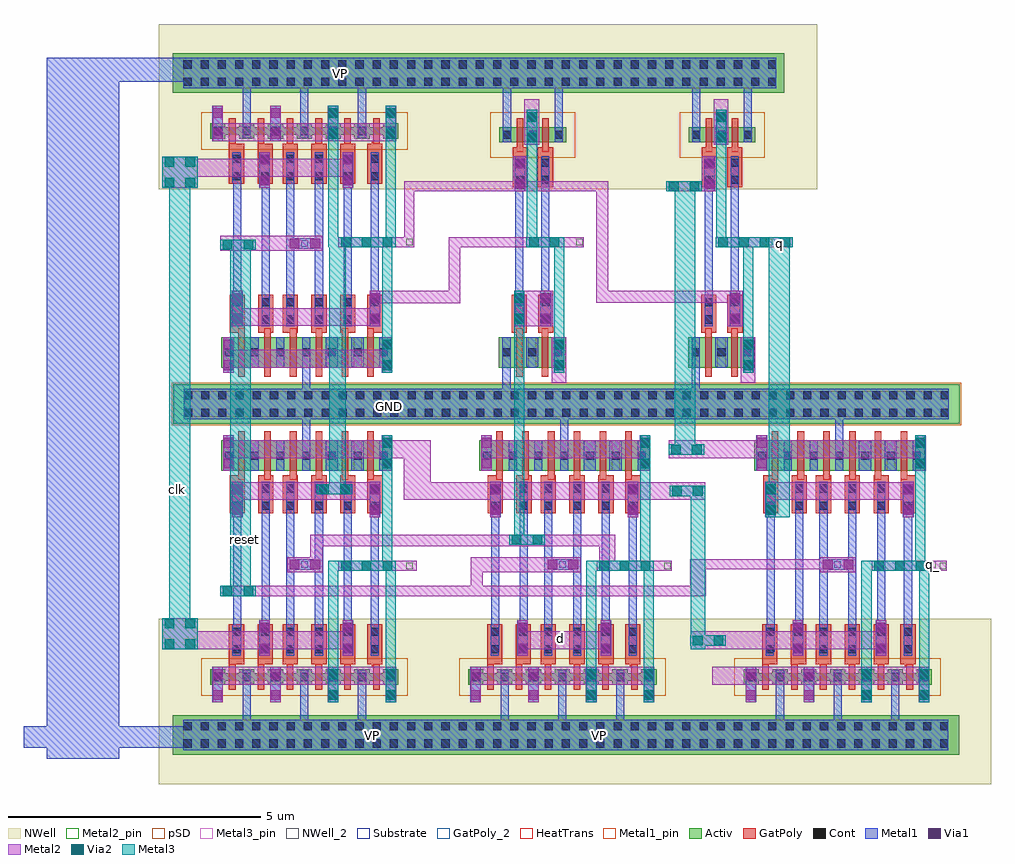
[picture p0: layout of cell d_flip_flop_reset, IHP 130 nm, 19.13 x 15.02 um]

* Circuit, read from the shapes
.subckt d_flip_flop_reset GND VP clk d q q_ reset
XM1 n1 NAND_2in_nmosx2_25/a NAND_3in_nmosx3_21/a GND sg13_lv_nmos w=0.6u l=0.13u
XM2 n2 NAND_3in_nmosx3_22/a NAND_2in_nmosx2_25/a GND sg13_lv_nmos w=0.6u l=0.13u
XM3 n3 clk n1 GND sg13_lv_nmos w=0.6u l=0.13u
XM4 n4 clk n2 GND sg13_lv_nmos w=0.6u l=0.13u
XM5 GND NAND_2in_nmosx2_24/a n3 GND sg13_lv_nmos w=0.6u l=0.13u
XM6 GND reset n4 GND sg13_lv_nmos w=0.6u l=0.13u
XM7 n5 NAND_2in_nmosx2_24/a GND GND sg13_lv_nmos w=0.6u l=0.13u
XM8 n6 reset GND GND sg13_lv_nmos w=0.6u l=0.13u
XM9 n7 clk n5 GND sg13_lv_nmos w=0.6u l=0.13u
XM10 n8 clk n6 GND sg13_lv_nmos w=0.6u l=0.13u
XM11 NAND_3in_nmosx3_21/a NAND_2in_nmosx2_25/a n7 GND sg13_lv_nmos w=0.6u l=0.13u
XM12 NAND_2in_nmosx2_25/a NAND_3in_nmosx3_22/a n8 GND sg13_lv_nmos w=0.6u l=0.13u
XM13 n9 NAND_3in_nmosx3_21/a NAND_2in_nmosx2_24/a GND sg13_lv_nmos w=0.6u l=0.13u
XM14 n10 NAND_2in_nmosx2_25/a GND GND sg13_lv_nmos w=0.6u l=0.13u
XM15 n11 d n9 GND sg13_lv_nmos w=0.6u l=0.13u
XM16 NAND_3in_nmosx3_22/a NAND_2in_nmosx2_24/a n10 GND sg13_lv_nmos w=0.6u l=0.13u
XM17 GND reset n11 GND sg13_lv_nmos w=0.6u l=0.13u
XM18 n12 reset GND GND sg13_lv_nmos w=0.6u l=0.13u
XM19 n13 d n12 GND sg13_lv_nmos w=0.6u l=0.13u
XM20 NAND_2in_nmosx2_24/a NAND_3in_nmosx3_21/a n13 GND sg13_lv_nmos w=0.6u l=0.13u
XM21 n14 q_ GND GND sg13_lv_nmos w=0.6u l=0.13u
XM22 q NAND_2in_nmosx2_25/a n14 GND sg13_lv_nmos w=0.6u l=0.13u
XM23 n15 q q_ GND sg13_lv_nmos w=0.6u l=0.13u
XM24 n16 NAND_3in_nmosx3_21/a n15 GND sg13_lv_nmos w=0.6u l=0.13u
XM25 GND reset n16 GND sg13_lv_nmos w=0.6u l=0.13u
XM26 n17 reset GND GND sg13_lv_nmos w=0.6u l=0.13u
XM27 n18 NAND_3in_nmosx3_21/a n17 GND sg13_lv_nmos w=0.6u l=0.13u
XM28 q_ q n18 GND sg13_lv_nmos w=0.6u l=0.13u
XM29 VP NAND_2in_nmosx2_25/a NAND_3in_nmosx3_21/a VP sg13_lv_pmos w=0.15u l=0.13u m=2
XM30 VP NAND_3in_nmosx3_22/a NAND_2in_nmosx2_25/a VP sg13_lv_pmos w=0.15u l=0.13u m=2
XM31 NAND_3in_nmosx3_21/a clk VP VP sg13_lv_pmos w=0.15u l=0.13u m=2
XM32 NAND_2in_nmosx2_25/a clk VP VP sg13_lv_pmos w=0.15u l=0.13u m=2
XM33 VP NAND_2in_nmosx2_24/a NAND_3in_nmosx3_21/a VP sg13_lv_pmos w=0.15u l=0.13u m=2
XM34 VP reset NAND_2in_nmosx2_25/a VP sg13_lv_pmos w=0.15u l=0.13u m=2
XM35 VP NAND_3in_nmosx3_21/a NAND_2in_nmosx2_24/a VP sg13_lv_pmos w=0.15u l=0.13u m=2
XM36 NAND_2in_nmosx2_24/a d VP VP sg13_lv_pmos w=0.15u l=0.13u m=2
XM37 NAND_3in_nmosx3_22/a NAND_2in_nmosx2_25/a VP VP sg13_lv_pmos w=0.3u l=0.13u
XM38 VP NAND_2in_nmosx2_24/a NAND_3in_nmosx3_22/a VP sg13_lv_pmos w=0.3u l=0.13u
XM39 VP reset NAND_2in_nmosx2_24/a VP sg13_lv_pmos w=0.15u l=0.13u m=2
XM40 q q_ VP VP sg13_lv_pmos w=0.3u l=0.13u
XM41 VP NAND_2in_nmosx2_25/a q VP sg13_lv_pmos w=0.3u l=0.13u
XM42 VP q q_ VP sg13_lv_pmos w=0.15u l=0.13u m=2
XM43 q_ NAND_3in_nmosx3_21/a VP VP sg13_lv_pmos w=0.15u l=0.13u m=2
XM44 VP reset q_ VP sg13_lv_pmos w=0.15u l=0.13u m=2
.ends

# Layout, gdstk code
from math import pi, radians
import gdstk
lib = gdstk.Library(unit=1e-6, precision=1e-09)
def R(c, l, rs):  # rectangles x0, y0, x1, y1
    for r in rs: c.add(gdstk.rectangle(r[:2], r[2:], *l))
def A(c, l, x, y, w, h, nx, ny, dx, dy):  # array of equal rectangles
    R(c, l, [(x+i*dx, y+j*dy, x+i*dx+w, y+j*dy+h) for i in range(nx) for j in range(ny)])
Activ = (1, 0)
GatPoly = (5, 0)
GatPoly_2 = (5, 2)
Cont = (6, 0)
Metal1 = (8, 0)
Metal1_pin = (8, 2)
Metal2 = (10, 0)
Metal2_pin = (10, 2)
pSD = (14, 0)
Via1 = (19, 0)
Via2 = (29, 0)
Metal3 = (30, 0)
Metal3_pin = (30, 2)
NWell = (31, 0)
NWell_2 = (31, 2)
Substrate = (40, 0)
HeatTrans = (51, 0)

ptap1 = lib.new_cell('ptap1')
R(ptap1, Activ, [(0,0,1.7,0.78)])
A(ptap1, Cont, 0.09, 0.14, 0.16, 0.16, 5, 2, 0.34, 0.34)
R(ptap1, Metal1, [(0.09,0.09,1.61,0.69), (0.09,0.14,1.61,0.64)])
R(ptap1, Metal1_pin, [(0.09,0.14,1.61,0.64)])
R(ptap1, pSD, [(-0.03,-0.03,1.73,0.81)])
R(ptap1, Substrate, [(0,0,1.7,0.78)])
ptap1.add(gdstk.Label('sub!', (0.85,0.01), layer=63, texttype=0))
ptap1.add(gdstk.Label('sub!', (0.85,0.01), layer=40, texttype=0))

ntap1_2 = lib.new_cell('ntap1$2')
R(ntap1_2, Activ, [(0,0,1.7,0.78)])
A(ntap1_2, Cont, 0.09, 0.14, 0.16, 0.16, 5, 2, 0.34, 0.34)
R(ntap1_2, Metal1, [(0.09,0.09,1.61,0.69)])
R(ntap1_2, Metal1_pin, [(0.09,0.09,1.61,0.69), (0.09,0.14,1.61,0.64)])
R(ntap1_2, NWell, [(-0.24,-0.24,1.94,1.02), (0,0,1.7,0.78)])
R(ntap1_2, NWell_2, [(0,0,1.7,0.78)])
ntap1_2.add(gdstk.Label('well', (0.85,0.01), layer=63, texttype=0))
ntap1_2.add(gdstk.Label('well', (0.85,0.01), layer=31, texttype=0))

ntap1 = lib.new_cell('ntap1')
R(ntap1, Activ, [(0,0,2.4,0.78)])
A(ntap1, Cont, 0.1, 0.14, 0.16, 0.16, 7, 2, 0.34, 0.34)
R(ntap1, Metal1, [(0.1,0.09,2.3,0.69)])
R(ntap1, Metal1_pin, [(0.1,0.09,2.3,0.69), (0.1,0.14,2.3,0.64)])
R(ntap1, NWell, [(-0.24,-0.24,2.64,1.02), (0,0,2.4,0.78)])
R(ntap1, NWell_2, [(0,0,2.4,0.78)])
ntap1.add(gdstk.Label('well', (1.2,0.01), layer=63, texttype=0))
ntap1.add(gdstk.Label('well', (1.2,0.01), layer=31, texttype=0))

ntap1_4 = lib.new_cell('ntap1$4')
R(ntap1_4, Activ, [(0,0,2.2,0.78)])
A(ntap1_4, Cont, 0.17, 0.14, 0.16, 0.16, 6, 2, 0.34, 0.34)
R(ntap1_4, Metal1, [(0.17,0.09,2.03,0.69)])
R(ntap1_4, Metal1_pin, [(0.17,0.09,2.03,0.69), (0.17,0.14,2.03,0.64)])
R(ntap1_4, NWell, [(-0.24,-0.24,2.44,1.02), (0,0,2.2,0.78)])
R(ntap1_4, NWell_2, [(0,0,2.2,0.78)])
ntap1_4.add(gdstk.Label('well', (1.1,0.01), layer=63, texttype=0))
ntap1_4.add(gdstk.Label('well', (1.1,0.01), layer=31, texttype=0))

via = lib.new_cell('Via')
R(via, Metal2, [(-0.35,-0.1,0.35,0.1)])
R(via, Via2, [(-0.3,-0.095,-0.11,0.095), (0.11,-0.095,0.3,0.095)])
R(via, Metal3, [(-0.35,-0.1,0.35,0.1)])

via_1 = lib.new_cell('Via$1')
R(via_1, Metal2, [(-0.35,-0.305,0.35,0.305)])
R(via_1, Via2, [(-0.3,-0.3,-0.11,-0.11), (0.11,-0.3,0.3,-0.11), (-0.3,0.11,-0.11,0.3), (0.11,0.11,0.3,0.3)])
R(via_1, Metal3, [(-0.35,-0.305,0.35,0.305)])

via_2 = lib.new_cell('Via$2')
R(via_2, Metal1, [(-0.105,-0.35,0.105,0.35)])
R(via_2, Metal2, [(-0.1,-0.35,0.1,0.35)])
R(via_2, Via1, [(-0.095,-0.3,0.095,-0.11), (-0.095,0.11,0.095,0.3)])

via_1_2 = lib.new_cell('Via$1$2')
R(via_1_2, Metal2, [(-0.1,-0.555,0.1,0.555)])
A(via_1_2, Via2, -0.095, -0.505, 0.19, 0.19, 1, 3, 0, 0.41)
R(via_1_2, Metal3, [(-0.1,-0.555,0.1,0.555)])

nmos = lib.new_cell('nmos')
A(nmos, Activ, 0, 0, 0.3, 0.3, 7, 1, 0.51, 0)
R(nmos, Activ, [(0,0,3.36,0.6)])
A(nmos, GatPoly, 0.34, -0.18, 0.13, 0.96, 6, 1, 0.51, 0)
R(nmos, GatPoly_2, [(0.34,-0.18,0.47,0.78)])
A(nmos, Cont, 0.07, 0.22, 0.16, 0.16, 7, 1, 0.51, 0)
A(nmos, Metal1, 0.07, 0, 0.16, 0.6, 7, 1, 0.51, 0)
R(nmos, Metal1_pin, [(0.07,0,0.23,0.6), (0.58,0,0.74,0.6)])
A(nmos, HeatTrans, 0.34, -0.18, 0.13, 0.96, 6, 1, 0.51, 0)
nmos.add(gdstk.Label('nmos', (0.405,0.3), layer=63, texttype=0))
nmos.add(gdstk.Label('nmos', (0.405,0.3), layer=51, texttype=0))
nmos.add(gdstk.Label('nmos', (0.915,0.3), layer=51, texttype=0))
nmos.add(gdstk.Label('nmos', (1.425,0.3), layer=51, texttype=0))
nmos.add(gdstk.Label('nmos', (1.935,0.3), layer=51, texttype=0))
nmos.add(gdstk.Label('nmos', (2.445,0.3), layer=51, texttype=0))
nmos.add(gdstk.Label('nmos', (2.955,0.3), layer=51, texttype=0))

ntap1_7 = lib.new_cell('ntap1$7')
R(ntap1_7, Activ, [(0,0,5,0.78)])
A(ntap1_7, Cont, 0.21, 0.14, 0.16, 0.16, 14, 2, 0.34, 0.34)
R(ntap1_7, Metal1, [(0.21,0.09,4.79,0.69)])
R(ntap1_7, Metal1_pin, [(0.21,0.09,4.79,0.69), (0.21,0.14,4.79,0.64)])
R(ntap1_7, NWell, [(-0.24,-0.24,5.24,1.02), (0,0,5,0.78)])
R(ntap1_7, NWell_2, [(0,0,5,0.78)])
ntap1_7.add(gdstk.Label('well', (2.5,0.01), layer=63, texttype=0))
ntap1_7.add(gdstk.Label('well', (2.5,0.01), layer=31, texttype=0))

ptap1_3 = lib.new_cell('ptap1$3')
R(ptap1_3, Activ, [(0,0,5,0.78)])
A(ptap1_3, Cont, 0.21, 0.14, 0.16, 0.16, 14, 2, 0.34, 0.34)
R(ptap1_3, Metal1, [(0.21,0.09,4.79,0.69), (0.21,0.14,4.79,0.64)])
R(ptap1_3, Metal1_pin, [(0.21,0.14,4.79,0.64)])
R(ptap1_3, pSD, [(-0.03,-0.03,5.03,0.81)])
R(ptap1_3, Substrate, [(0,0,5,0.78)])
ptap1_3.add(gdstk.Label('sub!', (2.5,0.01), layer=63, texttype=0))
ptap1_3.add(gdstk.Label('sub!', (2.5,0.01), layer=40, texttype=0))

via_2_2 = lib.new_cell('Via$2$2')
R(via_2_2, Metal2, [(-0.1,-0.35,0.1,0.35)])
R(via_2_2, Via2, [(-0.095,-0.3,0.095,-0.11), (-0.095,0.11,0.095,0.3)])
R(via_2_2, Metal3, [(-0.1,-0.35,0.1,0.35)])

via_3 = lib.new_cell('Via$3')
R(via_3, GatPoly, [(-0.32,-0.15,0.32,0.15)])
R(via_3, Cont, [(-0.25,-0.08,-0.09,0.08), (0.09,-0.08,0.25,0.08)])
R(via_3, Metal1, [(-0.3,-0.08,0.3,0.08)])

pmos = lib.new_cell('pmos')
A(pmos, Activ, 0, 0, 0.3, 0.3, 7, 1, 0.57, 0)
R(pmos, Activ, [(0,0.075,3.72,0.225)])
A(pmos, GatPoly, 0.37, -0.105, 0.13, 0.51, 6, 1, 0.57, 0)
R(pmos, GatPoly, [(0.37,-0.105,0.5,0.405)])
A(pmos, Cont, 0.07, 0.07, 0.16, 0.16, 7, 1, 0.57, 0)
A(pmos, Metal1, 0.64, 0.02, 0.16, 0.26, 6, 1, 0.57, 0)
R(pmos, Metal1, [(0.07,0.02,0.23,0.28), (0.07,0.02,0.23,0.28), (0.64,0.02,0.8,0.28)])
R(pmos, pSD, [(-0.18,-0.225,3.9,0.525)])
R(pmos, NWell, [(-0.31,-0.31,4.03,0.61)])
A(pmos, HeatTrans, 0.37, -0.105, 0.13, 0.51, 6, 1, 0.57, 0)
pmos.add(gdstk.Label('pmos', (0.435,0.15), layer=63, texttype=0))
pmos.add(gdstk.Label('pmos', (0.435,0.15), layer=51, texttype=0))
pmos.add(gdstk.Label('pmos', (1.005,0.15), layer=51, texttype=0))
pmos.add(gdstk.Label('pmos', (1.575,0.15), layer=51, texttype=0))
pmos.add(gdstk.Label('pmos', (2.145,0.15), layer=51, texttype=0))
pmos.add(gdstk.Label('pmos', (2.715,0.15), layer=51, texttype=0))
pmos.add(gdstk.Label('pmos', (3.285,0.15), layer=51, texttype=0))

nand_3in_nmosx3 = lib.new_cell('NAND_3in_nmosx3')
A(nand_3in_nmosx3, GatPoly, -0.54, -2.93, 0.3, 0.11, 3, 1, 0.57, 0)
A(nand_3in_nmosx3, GatPoly, -0.54, 0.655, 0.3, 0.15, 3, 1, 0.57, 0)
R(nand_3in_nmosx3, GatPoly, [(-1.585,-2.93,-1.285,-2.82), (-1.02,-2.93,-0.72,-2.82), (1.135,-2.93,1.435,-2.82), (-1.6,0.655,-1.3,0.805), (-1.035,0.655,-0.735,0.805), (1.13,0.655,1.43,0.805), (0.68,0.755,0.81,0.845), (1.22,0.755,1.35,0.845)])
R(nand_3in_nmosx3, Metal1, [(-0.155,-4.075,0.005,-3.295), (0.31,-3.6,0.55,-3.34), (0.82,-3.6,1.06,-3.34), (0.31,-3.36,0.55,-3.02), (0.82,-3.36,1.06,-3.02), (-1.515,-2.44,-1.355,0.56), (-0.95,-2.44,-0.79,0.05), (0.67,-2.44,0.83,0.05), (-0.47,-2.38,-0.31,0.175), (0.1,-2.38,0.26,0.245), (1.2,-2.21,1.36,-1.27), (1.2,-1.31,1.36,-0.37), (1.2,-0.455,1.36,0.075), (0.95,1.005,1.11,2.015), (-1.33,1.07,-1.17,2.065), (-0.19,1.075,-0.03,2.065)])
R(nand_3in_nmosx3, Metal1_pin, [(0.44,-4.33,0.57,-4.2), (0.74,2.225,0.87,2.355)])
R(nand_3in_nmosx3, Metal2, [(-1.685,-3.62,1.605,-3.27), (-1.475,-2.795,1.395,-2.445), (-0.45,-1.315,0.25,-1.015), (1.62,-1.24,2.05,-1.04), (-0.895,0.155,0.83,0.505), (-1.925,0.855,1.7,1.205)])
R(nand_3in_nmosx3, Metal2_pin, [(-1.495,-2.31,-1.365,-2.18), (1.225,-2.31,1.355,-2.18), (-0.175,-1.235,-0.045,-1.105), (1.905,-1.205,2.035,-1.075), (-0.955,0.005,-0.825,0.135), (-0.955,0.005,-0.825,0.135), (0.69,0.005,0.82,0.135), (0.69,0.005,0.82,0.135)])
R(nand_3in_nmosx3, Metal3, [(1.425,-3.03,1.625,-2.83), (1.425,-2.83,1.625,-2.425), (1.425,-2.5,1.625,-1.15), (0.36,-1.24,0.56,-0.97), (0.38,-1.24,0.565,-1.04), (1.66,-1.24,1.7,-1.09), (1.5,-1.09,1.7,0.17), (0.36,-0.97,0.56,0.26), (1.5,0.045,1.7,1.02), (0.36,0.155,0.56,0.855)])
R(nand_3in_nmosx3, NWell, [(-2.99,-0.1,2.93,3.17)])
nand_3in_nmosx3.add(gdstk.Reference(via_2, (1.285,-2.45), rotation=pi))
nand_3in_nmosx3.add(gdstk.Reference(via_2, (0.75,0.285), rotation=pi))
nand_3in_nmosx3.add(gdstk.Reference(via_2, (0.46,1.205), rotation=pi))
nand_3in_nmosx3.add(gdstk.Reference(via_2, (1.6,1.205), rotation=pi))
nand_3in_nmosx3.add(gdstk.Reference(via_1_2, (1.12,-1.14), rotation=3*pi/2))
nand_3in_nmosx3.add(gdstk.Reference(nmos, (1.605,-3.02), rotation=pi))
nand_3in_nmosx3.add(gdstk.Reference(ntap1_7, (-2.71,1.81)))
nand_3in_nmosx3.add(gdstk.Reference(ptap1_3, (-2.7,-4.73)))
nand_3in_nmosx3.add(gdstk.Reference(via_2_2, (1.525,-3.37), rotation=pi))
nand_3in_nmosx3.add(gdstk.Reference(via_2_2, (0.46,1.205), rotation=pi))
nand_3in_nmosx3.add(gdstk.Reference(via_2_2, (1.6,1.205), rotation=pi))
nand_3in_nmosx3.add(gdstk.Reference(via_3, (0.75,-2.5), rotation=3*pi/2))
nand_3in_nmosx3.add(gdstk.Reference(via_3, (1.285,-2.5), rotation=3*pi/2))
nand_3in_nmosx3.add(gdstk.Reference(via_3, (0.75,0.335), rotation=3*pi/2))
nand_3in_nmosx3.add(gdstk.Reference(via_3, (1.28,0.335), rotation=3*pi/2))
nand_3in_nmosx3.add(gdstk.Reference(pmos, (1.75,1.205), rotation=pi))
nand_3in_nmosx3.add(gdstk.Reference(via_3, (0.18,0.335), rotation=3*pi/2))
nand_3in_nmosx3.add(gdstk.Reference(via_3, (0.18,-2.5), rotation=3*pi/2))
nand_3in_nmosx3.add(gdstk.Reference(via_3, (-0.39,0.335), rotation=3*pi/2))
nand_3in_nmosx3.add(gdstk.Reference(via_3, (-0.39,-2.5), rotation=3*pi/2))
nand_3in_nmosx3.add(gdstk.Reference(via_2, (-0.1,-1.165), rotation=3*pi/2))
nand_3in_nmosx3.add(gdstk.Reference(via_2, (-0.68,1.205), rotation=pi))
nand_3in_nmosx3.add(gdstk.Reference(via_2, (-1.825,1.205), rotation=pi))
nand_3in_nmosx3.add(gdstk.Reference(via_2, (0.75,0.285), rotation=pi))
nand_3in_nmosx3.add(gdstk.Reference(via_3, (0.75,0.335), rotation=3*pi/2))
nand_3in_nmosx3.add(gdstk.Reference(via_3, (-0.885,0.335), rotation=3*pi/2))
nand_3in_nmosx3.add(gdstk.Reference(via_2, (-0.895,0.285), rotation=pi))
nand_3in_nmosx3.add(gdstk.Reference(via_3, (-0.885,0.335), rotation=3*pi/2))
nand_3in_nmosx3.add(gdstk.Reference(via_2, (-0.895,0.285), rotation=pi))
nand_3in_nmosx3.add(gdstk.Reference(via_3, (-0.87,-2.5), rotation=3*pi/2))
nand_3in_nmosx3.add(gdstk.Reference(via_2, (-1.435,-2.45), rotation=pi))
nand_3in_nmosx3.add(gdstk.Reference(via_3, (-1.435,-2.5), rotation=3*pi/2))
nand_3in_nmosx3.add(gdstk.Reference(via_3, (-1.45,0.335), rotation=3*pi/2))
nand_3in_nmosx3.add(gdstk.Reference(via_2, (-1.61,-3.37), rotation=pi))
nand_3in_nmosx3.add(gdstk.Reference(via_2, (1.525,-3.37), rotation=pi))
nand_3in_nmosx3.add(gdstk.Label('GND', (0.505,-4.26), layer=8, texttype=25))
nand_3in_nmosx3.add(gdstk.Label('VP', (0.8,2.285), layer=8, texttype=25))
nand_3in_nmosx3.add(gdstk.Label('a', (-1.435,-2.25), layer=10, texttype=25))
nand_3in_nmosx3.add(gdstk.Label('a', (1.285,-2.25), layer=10, texttype=25))
nand_3in_nmosx3.add(gdstk.Label('b', (0.76,0.095), layer=10, texttype=25))
nand_3in_nmosx3.add(gdstk.Label('b', (-0.885,0.095), layer=10, texttype=25))
nand_3in_nmosx3.add(gdstk.Label('b', (-0.885,0.095), layer=10, texttype=25))
nand_3in_nmosx3.add(gdstk.Label('b', (0.76,0.095), layer=10, texttype=25))
nand_3in_nmosx3.add(gdstk.Label('c', (-0.11,-1.175), layer=10, texttype=25))
nand_3in_nmosx3.add(gdstk.Label('y', (1.97,-1.14), layer=10, texttype=25))

ntap1_5 = lib.new_cell('ntap1$5')
R(ntap1_5, Activ, [(0,0,2.5,0.78)])
A(ntap1_5, Cont, 0.15, 0.14, 0.16, 0.16, 7, 2, 0.34, 0.34)
R(ntap1_5, Metal1, [(0.15,0.09,2.35,0.69)])
R(ntap1_5, Metal1_pin, [(0.15,0.09,2.35,0.69), (0.15,0.14,2.35,0.64)])
R(ntap1_5, NWell, [(-0.24,-0.24,2.74,1.02), (0,0,2.5,0.78)])
R(ntap1_5, NWell_2, [(0,0,2.5,0.78)])
ntap1_5.add(gdstk.Label('well', (1.25,0.01), layer=63, texttype=0))
ntap1_5.add(gdstk.Label('well', (1.25,0.01), layer=31, texttype=0))

ptap1_1 = lib.new_cell('ptap1$1')
R(ptap1_1, Activ, [(0,0,2.5,0.78)])
A(ptap1_1, Cont, 0.15, 0.14, 0.16, 0.16, 7, 2, 0.34, 0.34)
R(ptap1_1, Metal1, [(0.15,0.09,2.35,0.69), (0.15,0.14,2.35,0.64)])
R(ptap1_1, Metal1_pin, [(0.15,0.14,2.35,0.64)])
R(ptap1_1, pSD, [(-0.03,-0.03,2.53,0.81)])
R(ptap1_1, Substrate, [(0,0,2.5,0.78)])
ptap1_1.add(gdstk.Label('sub!', (1.25,0.01), layer=63, texttype=0))
ptap1_1.add(gdstk.Label('sub!', (1.25,0.01), layer=40, texttype=0))

via_4 = lib.new_cell('Via$4')
R(via_4, Metal2, [(-0.1,-0.35,0.1,0.35)])
R(via_4, Via2, [(-0.095,-0.3,0.095,-0.11), (-0.095,0.11,0.095,0.3)])
R(via_4, Metal3, [(-0.1,-0.35,0.1,0.35)])

via_1_3 = lib.new_cell('Via$1$3')
R(via_1_3, Metal1, [(-0.105,-0.35,0.105,0.35)])
R(via_1_3, Metal2, [(-0.1,-0.35,0.1,0.35)])
R(via_1_3, Via1, [(-0.095,-0.3,0.095,-0.11), (-0.095,0.11,0.095,0.3)])

via_2_3 = lib.new_cell('Via$2$3')
R(via_2_3, GatPoly, [(-0.32,-0.15,0.32,0.15)])
R(via_2_3, Cont, [(-0.25,-0.08,-0.09,0.08), (0.09,-0.08,0.25,0.08)])
R(via_2_3, Metal1, [(-0.3,-0.08,0.3,0.08)])

pmos_1 = lib.new_cell('pmos$1')
A(pmos_1, Activ, 0, 0, 0.3, 0.3, 3, 1, 0.51, 0)
R(pmos_1, Activ, [(0,0,1.32,0.3)])
R(pmos_1, GatPoly, [(0.34,-0.18,0.47,0.48), (0.34,-0.18,0.47,0.48), (0.85,-0.18,0.98,0.48)])
A(pmos_1, Cont, 0.07, 0.07, 0.16, 0.16, 3, 1, 0.51, 0)
R(pmos_1, Metal1, [(0.07,0,0.23,0.3), (0.07,0,0.23,0.3), (0.58,0,0.74,0.3), (0.58,0,0.74,0.3), (1.09,0,1.25,0.3)])
R(pmos_1, pSD, [(-0.18,-0.3,1.5,0.6)])
R(pmos_1, NWell, [(-0.31,-0.31,1.63,0.61)])
R(pmos_1, HeatTrans, [(0.34,-0.18,0.47,0.48), (0.85,-0.18,0.98,0.48)])
pmos_1.add(gdstk.Label('pmos', (0.405,0.15), layer=63, texttype=0))
pmos_1.add(gdstk.Label('pmos', (0.405,0.15), layer=51, texttype=0))
pmos_1.add(gdstk.Label('pmos', (0.915,0.15), layer=51, texttype=0))

nmos_1 = lib.new_cell('nmos$1')
A(nmos_1, Activ, 0, 0, 0.3, 0.3, 3, 1, 0.51, 0)
R(nmos_1, Activ, [(0,0,1.32,0.6)])
R(nmos_1, GatPoly, [(0.34,-0.18,0.47,0.78), (0.85,-0.18,0.98,0.78)])
R(nmos_1, GatPoly_2, [(0.34,-0.18,0.47,0.78)])
A(nmos_1, Cont, 0.07, 0.22, 0.16, 0.16, 3, 1, 0.51, 0)
A(nmos_1, Metal1, 0.07, 0, 0.16, 0.6, 3, 1, 0.51, 0)
R(nmos_1, Metal1_pin, [(0.07,0,0.23,0.6), (0.58,0,0.74,0.6)])
R(nmos_1, HeatTrans, [(0.34,-0.18,0.47,0.78), (0.85,-0.18,0.98,0.78)])
nmos_1.add(gdstk.Label('nmos', (0.405,0.3), layer=63, texttype=0))
nmos_1.add(gdstk.Label('nmos', (0.405,0.3), layer=51, texttype=0))
nmos_1.add(gdstk.Label('nmos', (0.915,0.3), layer=51, texttype=0))

nand_2in_nmosx2 = lib.new_cell('NAND_2in_nmosx2')
R(nand_2in_nmosx2, GatPoly, [(0.63,-2.93,0.93,-2.82), (1.15,-2.93,1.45,-2.82), (0.645,0.58,0.945,0.73), (1.145,0.58,1.445,0.73), (0.725,0.68,0.855,0.77)])
R(nand_2in_nmosx2, Metal1, [(0.445,-4.32,0.605,-3.295), (0.915,-3.6,1.155,-3.34), (0.915,-3.36,1.155,-3.02), (0.7,-2.68,0.86,0.26), (1.215,-2.21,1.375,-1.27), (1.215,-1.31,1.375,-0.37), (1.215,-0.37,1.375,-0.01), (0.455,1.01,0.615,1.15), (0.455,1.115,0.615,1.99), (1.475,1.115,1.635,1.94)])
R(nand_2in_nmosx2, Metal1_pin, [(0.44,-4.32,0.57,-4.19), (0.4,2.15,0.53,2.28)])
R(nand_2in_nmosx2, Metal2, [(1.415,-3.92,1.705,-3.72), (1.415,-3.72,1.705,-3.02), (1.15,-2.8,1.45,-2.1), (1.62,-1.24,2.05,-1.04), (0.645,-0.14,0.945,0.56), (0.88,0.78,1.17,0.98), (0.88,0.98,1.17,1.68)])
R(nand_2in_nmosx2, Metal2_pin, [(1.24,-2.27,1.37,-2.14), (1.905,-1.205,2.035,-1.075), (0.735,-0.1,0.865,0.03)])
R(nand_2in_nmosx2, Metal3, [(1.465,-3.03,1.665,-2.83), (1.465,-2.905,1.665,-1.045), (0.93,-1.09,1.13,0.17), (0.93,0.1,1.13,0.62), (0.93,0.62,1.13,0.72), (0.93,0.71,1.13,0.87)])
R(nand_2in_nmosx2, NWell, [(-0.85,-0.1,2.93,3.17)])
nand_2in_nmosx2.add(gdstk.Reference(ntap1_5, (-0.23,1.81)))
nand_2in_nmosx2.add(gdstk.Reference(ptap1_1, (-0.22,-4.73)))
nand_2in_nmosx2.add(gdstk.Reference(via_4, (1.27,-1.14), rotation=3*pi/2))
nand_2in_nmosx2.add(gdstk.Reference(via_1_3, (1.565,-3.37), rotation=pi))
nand_2in_nmosx2.add(gdstk.Reference(via_1_3, (1.3,-2.45), rotation=pi))
nand_2in_nmosx2.add(gdstk.Reference(via_1_3, (0.795,0.21), rotation=pi))
nand_2in_nmosx2.add(gdstk.Reference(via_1_3, (1.03,1.13), rotation=pi))
nand_2in_nmosx2.add(gdstk.Reference(via_2_3, (1.3,-2.5), rotation=3*pi/2))
nand_2in_nmosx2.add(gdstk.Reference(via_2_3, (0.795,0.26), rotation=3*pi/2))
nand_2in_nmosx2.add(gdstk.Reference(via_2_3, (1.295,0.26), rotation=3*pi/2))
nand_2in_nmosx2.add(gdstk.Reference(via_4, (1.565,-3.37), rotation=pi))
nand_2in_nmosx2.add(gdstk.Reference(via_4, (1.03,1.13), rotation=pi))
nand_2in_nmosx2.add(gdstk.Reference(pmos_1, (1.705,1.13), rotation=pi))
nand_2in_nmosx2.add(gdstk.Reference(via_2_3, (0.78,-2.5), rotation=3*pi/2))
nand_2in_nmosx2.add(gdstk.Reference(nmos_1, (1.695,-3.02), rotation=pi))
nand_2in_nmosx2.add(gdstk.Label('GND', (0.505,-4.25), layer=8, texttype=25))
nand_2in_nmosx2.add(gdstk.Label('VP', (0.46,2.21), layer=8, texttype=25))
nand_2in_nmosx2.add(gdstk.Label('b', (0.795,-0.04), layer=10, texttype=25))
nand_2in_nmosx2.add(gdstk.Label('a', (1.3,-2.21), layer=10, texttype=25))
nand_2in_nmosx2.add(gdstk.Label('y', (1.97,-1.14), layer=10, texttype=25))

d_flip_flop_reset = lib.new_cell('d_flip_flop_reset')
R(d_flip_flop_reset, Metal1, [(-6.51,-8.35,-5.08,5.5), (-6.97,-8.13,-3.39,-7.71), (-6.51,5.03,-3.65,5.5)])
R(d_flip_flop_reset, Metal1_pin, [(4.345,-7.965,4.475,-7.835), (-0.13,-7.955,0,-7.825), (0.19,-1.45,0.32,-1.32), (-0.775,5.135,-0.645,5.265)])
R(d_flip_flop_reset, Metal2, [(6.64,-6.885,7.635,-6.535), (-3.98,-6.185,-1.905,-5.835), (6.215,-6.185,8.6,-5.835), (-2.955,-5.135,2.105,-4.935), (1.865,-5.135,2.105,-4.585), (2,-5.135,6.515,-4.935), (6.21,-5.135,6.515,-4.52), (1.865,-4.665,3.56,-4.365), (0.62,-4.64,0.8,-4.44), (4.405,-4.64,4.725,-4.025), (6.21,-4.61,9.48,-4.41), (-1.3,-4.51,-1.06,-3.96), (-1.3,-4.15,4.725,-3.92), (0.545,-3.235,2.615,-2.885), (0.545,-3.235,1.075,-2.06), (4.86,-3.235,6.5,-2.885), (0.015,-2.41,1.075,-2.06), (5.78,-2.41,8.05,-2.06), (2.86,0.2,3.25,0.9), (-0.125,0.535,0.085,0.735), (-0.125,0.65,1.66,0.9), (1.43,0.65,1.66,1.96), (4.345,0.66,7.05,0.9), (4.345,0.9,4.585,3.06), (-3.08,1.685,-1.76,1.985), (0.55,1.76,0.75,3.058), (1.66,1.76,3.02,1.96), (0.55,2.86,4.535,3.06), (-3.98,3.155,-1.905,3.505)])
R(d_flip_flop_reset, Metal2_pin, [(3.58,-6.03,3.71,-5.9), (10.93,-4.58,11.06,-4.45), (7.905,1.77,8.035,1.9)])
R(d_flip_flop_reset, Metal3, [(6.215,-6.185,6.5,-2.96), (-4.085,-5.99,-3.675,3.04), (-2.885,-5.135,-2.475,1.81), (2.73,-4.015,2.93,0.215), (7.76,-3.58,8.17,1.96), (-0.93,-3.115,-0.6,1.96), (5.9,-2.285,6.31,3.02), (7.405,1.76,7.725,1.96)])
R(d_flip_flop_reset, Metal3_pin, [(-2.66,-4.08,-2.53,-3.95), (-4,-3.09,-3.87,-2.96)])
d_flip_flop_reset.add(gdstk.Reference(ptap1, (0.53,-1.73)))
d_flip_flop_reset.add(gdstk.Reference(ptap1, (3.93,-1.73)))
d_flip_flop_reset.add(gdstk.Reference(ntap1_2, (0.52,4.81)))
d_flip_flop_reset.add(gdstk.Reference(ntap1_2, (0.52,-8.27)))
d_flip_flop_reset.add(gdstk.Reference(ntap1, (4.93,-8.27)))
d_flip_flop_reset.add(gdstk.Reference(ntap1_4, (3.84,4.81)))
d_flip_flop_reset.add(gdstk.Reference(ntap1_2, (-3.9,-8.27)))
d_flip_flop_reset.add(gdstk.Reference(via, (-0.825,-3.025)))
d_flip_flop_reset.add(gdstk.Reference(via, (2.98,-4.02)))
d_flip_flop_reset.add(gdstk.Reference(via, (2.83,0.55), rotation=pi/2))
d_flip_flop_reset.add(gdstk.Reference(via, (6.15,-3.06)))
d_flip_flop_reset.add(gdstk.Reference(via, (6.56,-6.015)))
d_flip_flop_reset.add(gdstk.Reference(via_1, (-3.88,-5.88)))
d_flip_flop_reset.add(gdstk.Reference(via_1, (-3.88,3.24)))
d_flip_flop_reset.add(gdstk.Reference(via, (-2.73,-5.035)))
d_flip_flop_reset.add(gdstk.Reference(via, (-2.73,1.81)))
d_flip_flop_reset.add(gdstk.Reference(via, (6.13,-2.24)))
d_flip_flop_reset.add(gdstk.Reference(via, (6.085,2.96)))
d_flip_flop_reset.add(gdstk.Reference(via, (7.88,1.86)))
d_flip_flop_reset.add(gdstk.Reference(via, (7.8,-3.23), rotation=3*pi/2))
d_flip_flop_reset.add(gdstk.Reference(nand_3in_nmosx3, (-1.31,-5.68), x_reflection=True))
d_flip_flop_reset.add(gdstk.Reference(nand_3in_nmosx3, (3.79,-5.68), x_reflection=True))
d_flip_flop_reset.add(gdstk.Reference(nand_3in_nmosx3, (-1.31,3)))
d_flip_flop_reset.add(gdstk.Reference(nand_3in_nmosx3, (9.23,-5.68), x_reflection=True))
d_flip_flop_reset.add(gdstk.Reference(nand_2in_nmosx2, (2.05,3)))
d_flip_flop_reset.add(gdstk.Reference(nand_2in_nmosx2, (5.79,3)))
d_flip_flop_reset.add(gdstk.Label('VP', (4.41,-7.9), layer=8, texttype=25))
d_flip_flop_reset.add(gdstk.Label('VP', (-0.71,5.2), layer=8, texttype=25))
d_flip_flop_reset.add(gdstk.Label('VP', (-0.065,-7.89), layer=8, texttype=25))
d_flip_flop_reset.add(gdstk.Label('GND', (0.255,-1.385), layer=8, texttype=25))
d_flip_flop_reset.add(gdstk.Label('d', (3.645,-5.965), layer=10, texttype=25))
d_flip_flop_reset.add(gdstk.Label('q_', (10.995,-4.515), layer=10, texttype=25))
d_flip_flop_reset.add(gdstk.Label('q', (7.97,1.835), layer=10, texttype=25))
d_flip_flop_reset.add(gdstk.Label('clk', (-3.935,-3.025), layer=30, texttype=25))
d_flip_flop_reset.add(gdstk.Label('reset', (-2.595,-4.015), layer=30, texttype=25))

lib.write_gds('d_flip_flop_reset.gds')
